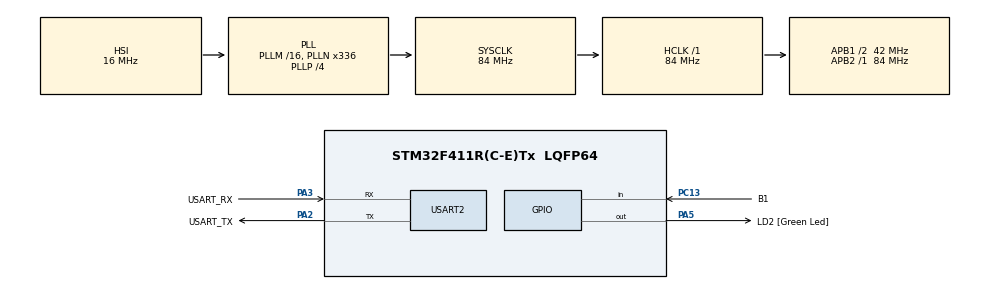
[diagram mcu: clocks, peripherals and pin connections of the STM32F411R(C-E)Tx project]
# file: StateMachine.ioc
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Mcu.Family=STM32F4
Mcu.Name=STM32F411R(C-E)Tx
Mcu.Package=LQFP64
NVIC.PriorityGroup=NVIC_PRIORITYGROUP_0
PA13.GPIO_Label=TMS
PA13.Mode=Serial_Wire
PA13.Signal=SYS_JTMS-SWDIO
PA14.GPIO_Label=TCK
PA14.Mode=Serial_Wire
PA14.Signal=SYS_JTCK-SWCLK
PA2.GPIO_Label=USART_TX
PA2.Mode=Asynchronous
PA2.Signal=USART2_TX
PA3.GPIO_Label=USART_RX
PA3.Mode=Asynchronous
PA3.Signal=USART2_RX
PA5.GPIO_Label=LD2 [Green Led]
PA5.Signal=GPIO_Output
PB3.GPIO_Label=SWO
PB3.Signal=SYS_JTDO-SWO
PC13-ANTI_TAMP.GPIO_Label=B1
PC13-ANTI_TAMP.Signal=GPIO_Input
PC14-OSC32_IN.Mode=LSE-External-Oscillator
PC14-OSC32_IN.Signal=RCC_OSC32_IN
PC15-OSC32_OUT.Mode=LSE-External-Oscillator
PC15-OSC32_OUT.Signal=RCC_OSC32_OUT
PH0\ -\ OSC_IN.Mode=HSE-External-Clock-Source
PH0\ -\ OSC_IN.Signal=RCC_OSC_IN
PH1\ -\ OSC_OUT.Mode=HSE-External-Clock-Source
PH1\ -\ OSC_OUT.Signal=RCC_OSC_OUT
ProjectManager.HeapSize=0x200
ProjectManager.StackSize=0x400
ProjectManager.TargetToolchain=STM32CubeIDE
RCC.48MHZClocksFreq_Value=84000000
RCC.AHBFreq_Value=84000000
RCC.APB1CLKDivider=RCC_HCLK_DIV2
RCC.APB1Freq_Value=42000000
RCC.APB1TimFreq_Value=84000000
RCC.APB2Freq_Value=84000000
RCC.APB2TimFreq_Value=84000000
RCC.CortexFreq_Value=84000000
RCC.FLatency-AdvancedSettings=FLASH_LATENCY_2
RCC.HCLKFreq_Value=84000000
RCC.HSE_VALUE=8000000
RCC.HSI_VALUE=16000000
RCC.PLLN=336
RCC.PLLP=RCC_PLLP_DIV4
RCC.SYSCLKFreq_VALUE=84000000
RCC.SYSCLKSource=RCC_SYSCLKSOURCE_PLLCLK
RCC.VCOOutputFreq_Value=336000000
USART2.VirtualMode=VM_ASYNC
board=NUCLEO-F411RE

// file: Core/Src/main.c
/* USER CODE BEGIN Header */
/**
  ******************************************************************************
  * @file           : main.c
  * @brief          : Main program body
  ******************************************************************************
  * @attention
  *
  * Copyright (c) 2024 STMicroelectronics.
  * All rights reserved.
  *
  * This software is licensed under terms that can be found in the LICENSE file
  * in the root directory of this software component.
  * If no LICENSE file comes with this software, it is provided AS-IS.
  *
  ******************************************************************************
  */
/* USER CODE END Header */
#include "main.h"

/* USER CODE BEGIN Includes */
#include "button.h"
/* USER CODE END Includes */

UART_HandleTypeDef huart2;

/* USER CODE BEGIN PV */
TButton BlueKey;
void ToggleLed(void);
void TurnOnLed(void);
void TurnOffLed(void);
/* USER CODE END PV */

void SystemClock_Config(void);
static void MX_GPIO_Init(void);
static void MX_USART2_UART_Init(void);

int main(void)
{

  /* MCU Configuration--------------------------------------------------------*/

  /* Reset of all peripherals, Initializes the Flash interface and the Systick. */
  HAL_Init();

  /* Configure the system clock */
  SystemClock_Config();

  /* Initialize all configured peripherals */
  MX_GPIO_Init();
  MX_USART2_UART_Init();
  /* USER CODE BEGIN 2 */
  ButtonInitKey(&BlueKey, B1_GPIO_Port, B1_Pin, 20, 2000, 500);
  ButtonRegisterPressedCallback(&BlueKey, ToggleLed);
  ButtonRegisterRepeatCallback(&BlueKey, TurnOnLed);
  ButtonRegisterLongPressCallback(&BlueKey, TurnOffLed);
  /* USER CODE END 2 */

  /* Infinite loop */
  /* USER CODE BEGIN WHILE */
  while (1)
  {
	  ButtonTask(&BlueKey);

    /* USER CODE END WHILE */

  }
}

void SystemClock_Config(void)
{
  RCC_OscInitTypeDef RCC_OscInitStruct = {0};
  RCC_ClkInitTypeDef RCC_ClkInitStruct = {0};

  /** Configure the main internal regulator output voltage
  */
  __HAL_RCC_PWR_CLK_ENABLE();
  __HAL_PWR_VOLTAGESCALING_CONFIG(PWR_REGULATOR_VOLTAGE_SCALE1);

  /** Initializes the RCC Oscillators according to the specified parameters
  * in the RCC_OscInitTypeDef structure.
  */
  RCC_OscInitStruct.OscillatorType = RCC_OSCILLATORTYPE_HSI;
  RCC_OscInitStruct.HSIState = RCC_HSI_ON;
  RCC_OscInitStruct.HSICalibrationValue = RCC_HSICALIBRATION_DEFAULT;
  RCC_OscInitStruct.PLL.PLLState = RCC_PLL_ON;
  RCC_OscInitStruct.PLL.PLLSource = RCC_PLLSOURCE_HSI;
  RCC_OscInitStruct.PLL.PLLM = 16;
  RCC_OscInitStruct.PLL.PLLN = 336;
  RCC_OscInitStruct.PLL.PLLP = RCC_PLLP_DIV4;
  RCC_OscInitStruct.PLL.PLLQ = 4;
  if (HAL_RCC_OscConfig(&RCC_OscInitStruct) != HAL_OK)
  {
    Error_Handler();
  }

  /** Initializes the CPU, AHB and APB buses clocks
  */
  RCC_ClkInitStruct.ClockType = RCC_CLOCKTYPE_HCLK|RCC_CLOCKTYPE_SYSCLK
                              |RCC_CLOCKTYPE_PCLK1|RCC_CLOCKTYPE_PCLK2;
  RCC_ClkInitStruct.SYSCLKSource = RCC_SYSCLKSOURCE_PLLCLK;
  RCC_ClkInitStruct.AHBCLKDivider = RCC_SYSCLK_DIV1;
  RCC_ClkInitStruct.APB1CLKDivider = RCC_HCLK_DIV2;
  RCC_ClkInitStruct.APB2CLKDivider = RCC_HCLK_DIV1;

  if (HAL_RCC_ClockConfig(&RCC_ClkInitStruct, FLASH_LATENCY_2) != HAL_OK)
  {
    Error_Handler();
  }
}

static void MX_USART2_UART_Init(void)
{

  huart2.Instance = USART2;
  huart2.Init.BaudRate = 115200;
  huart2.Init.WordLength = UART_WORDLENGTH_8B;
  huart2.Init.StopBits = UART_STOPBITS_1;
  huart2.Init.Parity = UART_PARITY_NONE;
  huart2.Init.Mode = UART_MODE_TX_RX;
  huart2.Init.HwFlowCtl = UART_HWCONTROL_NONE;
  huart2.Init.OverSampling = UART_OVERSAMPLING_16;
  if (HAL_UART_Init(&huart2) != HAL_OK)
  {
    Error_Handler();
  }

}

static void MX_GPIO_Init(void)
{
  GPIO_InitTypeDef GPIO_InitStruct = {0};

  /* GPIO Ports Clock Enable */
  __HAL_RCC_GPIOC_CLK_ENABLE();
  __HAL_RCC_GPIOH_CLK_ENABLE();
  __HAL_RCC_GPIOA_CLK_ENABLE();
  __HAL_RCC_GPIOB_CLK_ENABLE();

  /*Configure GPIO pin Output Level */
  HAL_GPIO_WritePin(LD2_GPIO_Port, LD2_Pin, GPIO_PIN_RESET);

  /*Configure GPIO pin : B1_Pin */
  GPIO_InitStruct.Pin = B1_Pin;
  GPIO_InitStruct.Mode = GPIO_MODE_INPUT;
  GPIO_InitStruct.Pull = GPIO_NOPULL;
  HAL_GPIO_Init(B1_GPIO_Port, &GPIO_InitStruct);

  /*Configure GPIO pin : LD2_Pin */
  GPIO_InitStruct.Pin = LD2_Pin;
  GPIO_InitStruct.Mode = GPIO_MODE_OUTPUT_PP;
  GPIO_InitStruct.Pull = GPIO_NOPULL;
  GPIO_InitStruct.Speed = GPIO_SPEED_FREQ_LOW;
  HAL_GPIO_Init(LD2_GPIO_Port, &GPIO_InitStruct);

}

/* USER CODE BEGIN 4 */
void ToggleLed(void)
{
	HAL_GPIO_TogglePin(LD2_GPIO_Port,LD2_Pin);
}

void TurnOnLed(void)
{
	HAL_GPIO_WritePin(LD2_GPIO_Port,LD2_Pin, GPIO_PIN_SET);
}
void TurnOffLed(void)
{
	HAL_GPIO_WritePin(LD2_GPIO_Port,LD2_Pin, GPIO_PIN_RESET);
}
/* USER CODE END 4 */

void Error_Handler(void)
{
  __disable_irq();
  while (1)
  {
  }
}
